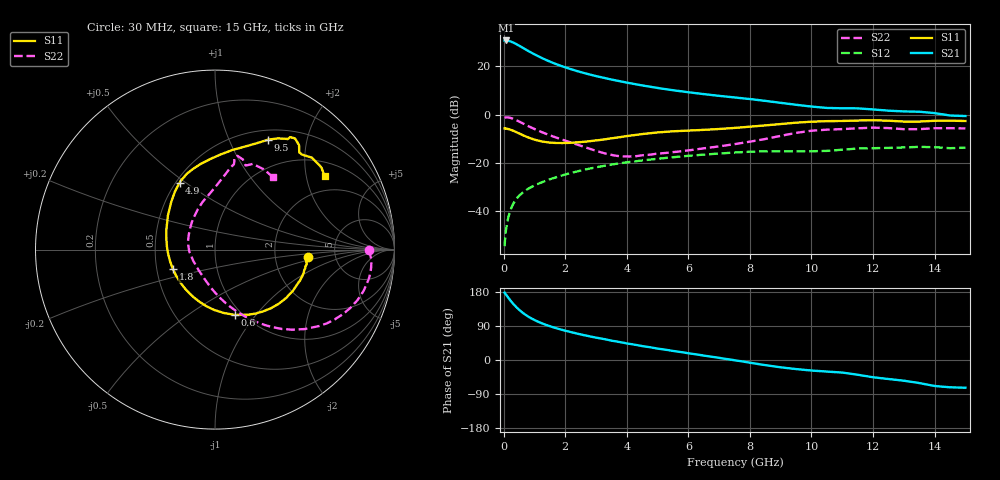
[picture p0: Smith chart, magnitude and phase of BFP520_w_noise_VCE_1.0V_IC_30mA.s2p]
! Infineon Technologies  Discrete & RF Semiconductors
! BFP520
! VCE =  1.0 V,  IC =  30 mA
! Common Emitter S-Parameters:  Oct 2015
# GHz  S  MA  R  50
!  f  S11  S21  S12  S22
! GHz  MAG  ANG  MAG  ANG  MAG  ANG  MAG  ANG
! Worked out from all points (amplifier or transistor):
!   109 points, 30 MHz to 15 GHz, reference 50 ohm
!   highest |S21| = 30.7 dB at 70 MHz (marker M1)
!   |S21| within 3 dB of that: start of sweep to 616.8 MHz
!   unconditionally stable (mu >= 1): start of sweep to 46.89 MHz; 2.103 GHz to end of sweep
!   at 450 MHz: K = 0.46, MSG = 31.6 dB, |S12| = -34.3 dB
!   at 4 GHz: K = 1.15, MAG = 14.1 dB, |S12| = -19.8 dB
!   at 15 GHz: K = 1.28, MAG = 3.4 dB, |S12| = -13.7 dB
!   lowest NFmin = 2.46 dB at 900 MHz
!   S11 on the Smith chart (normalised r, x): 30 MHz: 3.10, -0.37; 600 MHz: 0.93, -0.79; 1.8 GHz: 0.61, -0.14; 4.9 GHz: 0.52, +0.47; 9.5 GHz: 0.62, +1.41; 15 GHz: 1.43, +2.56
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0.03  0.5185 -4.8  33.98 177.6  0.0019 103.4  0.8554 -0.2
0.07  0.5125 -10.5  34.1 172.9  0.0039 88.9  0.8724 -4.0
0.14  0.5044 -20.0  33.63 165.5  0.007 83.6  0.8729 -10.3
0.2  0.491 -27.9  32.87 159.1  0.0097 79.7  0.8594 -15.5
0.3  0.4658 -40.5  31.05 149.2  0.0139 75.4  0.8206 -23.4
0.35  0.4511 -46.5  29.99 144.7  0.0158 73.5  0.7966 -27.0
0.45  0.4219 -57.6  27.75 136.4  0.0193 70.2  0.7457 -33.5
0.6  0.3811 -72.9  24.49 125.8  0.0239 66.7  0.668 -41.5
0.8  0.3362 -90.8  20.65 114.5  0.0293 63.6  0.5771 -50.0
0.9  0.3188 -98.8  19.06 109.8  0.0318 62.6  0.5383 -53.4
1.1  0.2915 -113.7  16.34 101.7  0.0365 60.9  0.4719 -59.5
1.4  0.2685 -133.4  13.29 92.0  0.0436 59.1  0.3942 -67.3
1.8  0.2583 -155.6  10.5 81.7  0.0529 56.6  0.3192 -76.5
2.6  0.2738 170.5  7.26 65.7  0.0718 50.9  0.2162 -95.4
3.5  0.3229 144.4  5.302 51.1  0.0924 42.9  0.1469 -127.9
4.9  0.4208 117.9  3.64 31.6  0.1199 30.0  0.1527 168.7
5.1  0.4321 115.2  3.478 29.0  0.1236 28.2  0.1578 162.2
7.6  0.5358 85.5  2.227 -1.8  0.1653 4.4  0.2503 111.1
9.5  0.6804 64.2  1.594 -23.9  0.1739 -14.1  0.4183 82.6
10.5  0.7312 57.6  1.371 -30.5  0.1775 -18.6  0.4878 77.5
13  0.7169 49.1  1.162 -54.6  0.2093 -39.6  0.4991 70.1
15  0.7359 34.0  0.933 -73.2  0.2068 -56.0  0.5166 51.6
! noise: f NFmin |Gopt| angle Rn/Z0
0.45  2.47  0.05  -117  0.28
0.9  2.46  0.06  -118  0.32
1.9  2.61  0.11  -111  0.3
2.4  2.62  0.13  -109  0.3
3.5  2.57  0.15  -102  0.33
